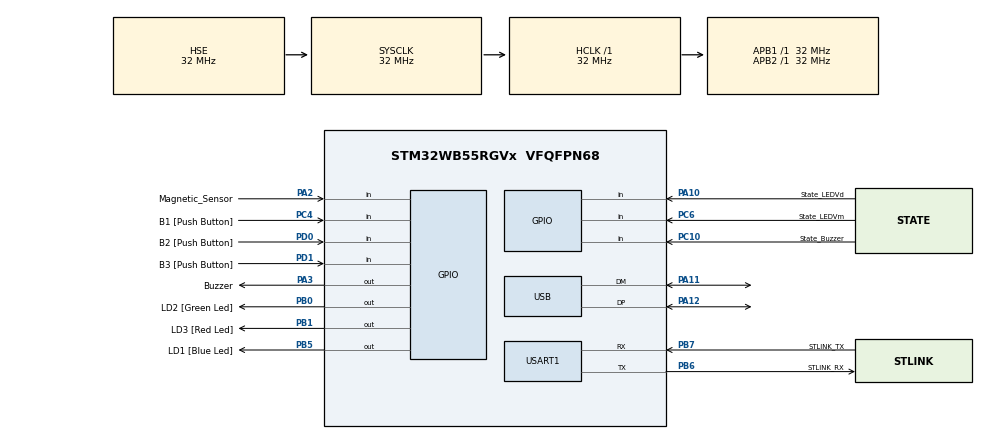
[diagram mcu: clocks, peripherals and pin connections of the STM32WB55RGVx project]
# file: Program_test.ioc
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Mcu.Family=STM32WB
Mcu.Name=STM32WB55RGVx
Mcu.Package=VFQFPN68
NVIC.PriorityGroup=NVIC_PRIORITYGROUP_4
OSC_IN.Mode=HSE-External-Oscillator
OSC_IN.Signal=RCC_OSC_IN
OSC_OUT.Mode=HSE-External-Oscillator
OSC_OUT.Signal=RCC_OSC_OUT
PA10.GPIO_Label=State_LEDVd
PA10.GPIO_PuPd=GPIO_PULLDOWN
PA10.Signal=GPIO_Input
PA11.Mode=Device
PA11.Signal=USB_DM
PA12.Mode=Device
PA12.Signal=USB_DP
PA13.GPIO_Label=JTMS
PA13.Mode=Trace_Asynchronous_SW
PA13.Signal=SYS_JTMS-SWDIO
PA14.GPIO_Label=JTCK
PA14.Mode=Trace_Asynchronous_SW
PA14.Signal=SYS_JTCK-SWCLK
PA2.GPIO_Label=Magnetic_Sensor
PA2.GPIO_PuPd=GPIO_PULLDOWN
PA2.Signal=GPIO_Input
PA3.GPIO_Label=Buzzer
PA3.GPIO_PuPd=GPIO_PULLDOWN
PA3.PinState=GPIO_PIN_SET
PA3.Signal=GPIO_Output
PB0.GPIO_Label=LD2 [Green Led]
PB0.Signal=GPIO_Output
PB1.GPIO_Label=LD3 [Red Led]
PB1.Signal=GPIO_Output
PB3.GPIO_Label=JTDO
PB3.Mode=Trace_Asynchronous_SW
PB3.Signal=SYS_JTDO-SWO
PB5.GPIO_Label=LD1 [Blue Led]
PB5.Signal=GPIO_Output
PB6.GPIO_Label=STLINK_RX
PB6.GPIO_PuPd=GPIO_PULLUP
PB6.Mode=Asynchronous
PB6.Signal=USART1_TX
PB7.GPIO_Label=STLINK_TX
PB7.GPIO_PuPd=GPIO_PULLUP
PB7.Mode=Asynchronous
PB7.Signal=USART1_RX
PC10.GPIO_Label=State_Buzzer
PC10.GPIO_PuPd=GPIO_PULLDOWN
PC10.Signal=GPIO_Input
PC13.Mode=SYS_WakeUp1
PC13.Signal=SYS_WKUP2
PC14-OSC32_IN.Mode=LSE-External-Oscillator
PC14-OSC32_IN.Signal=RCC_OSC32_IN
PC15-OSC32_OUT.Mode=LSE-External-Oscillator
PC15-OSC32_OUT.Signal=RCC_OSC32_OUT
PC4.GPIO_Label=B1 [Push Button]
PC4.Signal=GPIO_Input
PC6.GPIO_Label=State_LEDVm
PC6.GPIO_PuPd=GPIO_PULLDOWN
PC6.Signal=GPIO_Input
PD0.GPIO_Label=B2 [Push Button]
PD0.Signal=GPIO_Input
PD1.GPIO_Label=B3 [Push Button]
PD1.Signal=GPIO_Input
ProjectManager.HeapSize=0x200
ProjectManager.StackSize=0x400
ProjectManager.TargetToolchain=STM32CubeIDE
RCC.ADCFreq_Value=48000000
RCC.AHBFreq_Value=32000000
RCC.APB1Freq_Value=32000000
RCC.APB1TimFreq_Value=32000000
RCC.APB2Freq_Value=32000000
RCC.APB2TimFreq_Value=32000000
RCC.APB3Freq_Value=16000000
RCC.CortexFreq_Value=32000000
RCC.HCLKFreq_Value=32000000
RCC.HSE_VALUE=32000000
RCC.HSI48_VALUE=48000000
RCC.HSI_VALUE=16000000
RCC.PLLN=32
RCC.PLLSAI1N=24
RCC.SMPSCLockSelectionVirtual=RCC_SMPSCLKSOURCE_HSI
RCC.SMPSCLockSelectionVirtualVirtual=RCC_SMPSCLKSOURCE_HSI
RCC.SMPSDivider=1
RCC.SYSCLKFreq_VALUE=32000000
RCC.SYSCLKSource=RCC_SYSCLKSOURCE_HSE
RCC.USBFreq_Value=48000000
RCC.VCOOutputFreq_Value=128000000
USART1.DMADisableonRxErrorParam=ADVFEATURE_DMA_DISABLEONRXERROR
USART1.OverrunDisableParam=ADVFEATURE_OVERRUN_DISABLE
USART1.VirtualMode-Asynchronous=VM_ASYNC
USART1.WordLength=WORDLENGTH_7B
board=P-NUCLEO-WB55-Nucleo

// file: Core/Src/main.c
/* USER CODE BEGIN Header */
/**
  ******************************************************************************
  * @file           : main.c
  * @brief          : Main program body
  ******************************************************************************
  * @attention
  *
  * <h2><center>&copy; Copyright (c) 2020 STMicroelectronics.
  * All rights reserved.</center></h2>
  *
  * This software component is licensed by ST under BSD 3-Clause license,
  * the "License"; You may not use this file except in compliance with the
  * License. You may obtain a copy of the License at:
  *                        opensource.org/licenses/BSD-3-Clause
  *
  ******************************************************************************
  */
/* USER CODE END Header */
#include "main.h"

/* USER CODE BEGIN Includes */
#include "string.h"
/* USER CODE END Includes */

UART_HandleTypeDef huart1;

PCD_HandleTypeDef hpcd_USB_FS;

/* USER CODE BEGIN PV */
uint8_t aux = 0;
uint32_t timer_1;
uint32_t timer_2;
char in[1];
/* USER CODE END PV */

void SystemClock_Config(void);
static void MX_GPIO_Init(void);
static void MX_USART1_UART_Init(void);
static void MX_USB_PCD_Init(void);
/* USER CODE BEGIN PFP */
void debugPrintln(UART_HandleTypeDef *huart, char _out[]);
/* USER CODE END PFP */

int main(void)
{

  /* MCU Configuration--------------------------------------------------------*/

  /* Reset of all peripherals, Initializes the Flash interface and the Systick. */
HAL_Init();

  /* Configure the system clock */
  SystemClock_Config();

  /* Initialize all configured peripherals */
  MX_GPIO_Init();
  MX_USART1_UART_Init();
  MX_USB_PCD_Init();

  /* Infinite loop */
  /* USER CODE BEGIN WHILE */
  debugPrintln(&huart1, "-------------------Funcionamento----------------------");
  debugPrintln(&huart1, "");
  debugPrintln(&huart1, "Durante o funcionamento, para saber o valor o estado atual das saidas, aperte 0");
  while (1)
  {
	  /* Condição que ativa o alarme */
	  if(HAL_GPIO_ReadPin(GPIOA, Magnetic_Sensor_Pin))
	  {   aux = 2;
		  HAL_GPIO_WritePin(GPIOB, LD3_Pin, GPIO_PIN_SET);
		  HAL_GPIO_WritePin(GPIOB, LD1_Pin, GPIO_PIN_SET);
		  timer_1 = HAL_GetTick();
	  }
	  /* Verifica se a porta foi fechada */
	  else if(!HAL_GPIO_ReadPin(GPIOA, Magnetic_Sensor_Pin) && (aux == 2))
	  {
		  aux = 1;
		  HAL_GPIO_WritePin(GPIOB, LD3_Pin, GPIO_PIN_RESET);
		  HAL_GPIO_WritePin(GPIOB, LD2_Pin, GPIO_PIN_SET);
		  HAL_GPIO_WritePin(GPIOB, LD1_Pin, GPIO_PIN_RESET);
		  debugPrintln(&huart1, "Porta fechada");
		  timer_2 = HAL_GetTick();
	   }
	  else if ((HAL_GetTick() - timer_2) >= 5000){
		  aux = 0;
	  }
	  HAL_UART_Receive(&huart1, (uint8_t *)in, 1, 1000);
	  if (!strcmp(&in[0],"0")){
		  debugPrintln(&huart1,"------------------------------------");
		  /* Verifica se sensor magnético está ativado */
		  if(HAL_GPIO_ReadPin(GPIOA, Magnetic_Sensor_Pin))
			  debugPrintln(&huart1,"Porta aberta");
		  else
			  debugPrintln(&huart1,"Porta Fechada");
		  /* Verifica se o LED vermelho está ligado */
		  if(HAL_GPIO_ReadPin(GPIOC,State_LEDVm_Pin))
			  debugPrintln(&huart1,"Led vermelho ligado");
		  else
			  debugPrintln(&huart1,"Led vermelho Desligado");
		  /* Verifica se o LED verde está ligado */
		  if(HAL_GPIO_ReadPin(GPIOA,State_LEDVd_Pin))
			  debugPrintln(&huart1,"Led verde ligado");
		  else
			  debugPrintln(&huart1,"Led verde desligado");
		  /* Verifica se o Buzzer está ativado */
		  if(HAL_GPIO_ReadPin(GPIOC,State_Buzzer_Pin))
			  debugPrintln(&huart1,"Buzzer ligado");
		  else
			  debugPrintln(&huart1,"Buzzer Desligado");
		  debugPrintln(&huart1,"------------------------------------");
		  in[0] = 1;

	  if(((HAL_GetTick() - timer_1) >= 1000) && (HAL_GPIO_ReadPin(GPIOA, Magnetic_Sensor_Pin))){
		  debugPrintln(&huart1, "Ocorreu uma violacao, porta aberta");
	  }
	  if((HAL_GetTick() - timer_2) >= 5000){
		  HAL_GPIO_WritePin(GPIOB, LD2_Pin, GPIO_PIN_RESET);
	  }

    /* USER CODE END WHILE */

  }
}

void SystemClock_Config(void)
{
  RCC_OscInitTypeDef RCC_OscInitStruct = {0};
  RCC_ClkInitTypeDef RCC_ClkInitStruct = {0};
  RCC_PeriphCLKInitTypeDef PeriphClkInitStruct = {0};

  /** Macro to configure the PLL multiplication factor
  */
  __HAL_RCC_PLL_PLLM_CONFIG(RCC_PLLM_DIV1);
  /** Macro to configure the PLL clock source
  */
  __HAL_RCC_PLL_PLLSOURCE_CONFIG(RCC_PLLSOURCE_MSI);
  /** Configure LSE Drive Capability
  */
  HAL_PWR_EnableBkUpAccess();
  __HAL_RCC_LSEDRIVE_CONFIG(RCC_LSEDRIVE_LOW);
  /** Configure the main internal regulator output voltage
  */
  __HAL_PWR_VOLTAGESCALING_CONFIG(PWR_REGULATOR_VOLTAGE_SCALE1);
  /** Initializes the RCC Oscillators according to the specified parameters
  * in the RCC_OscInitTypeDef structure.
  */
  RCC_OscInitStruct.OscillatorType = RCC_OSCILLATORTYPE_HSI|RCC_OSCILLATORTYPE_HSE
                              |RCC_OSCILLATORTYPE_LSE|RCC_OSCILLATORTYPE_MSI;
  RCC_OscInitStruct.HSEState = RCC_HSE_ON;
  RCC_OscInitStruct.LSEState = RCC_LSE_ON;
  RCC_OscInitStruct.HSIState = RCC_HSI_ON;
  RCC_OscInitStruct.MSIState = RCC_MSI_ON;
  RCC_OscInitStruct.HSICalibrationValue = RCC_HSICALIBRATION_DEFAULT;
  RCC_OscInitStruct.MSICalibrationValue = RCC_MSICALIBRATION_DEFAULT;
  RCC_OscInitStruct.MSIClockRange = RCC_MSIRANGE_6;
  RCC_OscInitStruct.PLL.PLLState = RCC_PLL_NONE;
  if (HAL_RCC_OscConfig(&RCC_OscInitStruct) != HAL_OK)
  {
    Error_Handler();
  }
  /** Configure the SYSCLKSource, HCLK, PCLK1 and PCLK2 clocks dividers
  */
  RCC_ClkInitStruct.ClockType = RCC_CLOCKTYPE_HCLK4|RCC_CLOCKTYPE_HCLK2
                              |RCC_CLOCKTYPE_HCLK|RCC_CLOCKTYPE_SYSCLK
                              |RCC_CLOCKTYPE_PCLK1|RCC_CLOCKTYPE_PCLK2;
  RCC_ClkInitStruct.SYSCLKSource = RCC_SYSCLKSOURCE_HSE;
  RCC_ClkInitStruct.AHBCLKDivider = RCC_SYSCLK_DIV1;
  RCC_ClkInitStruct.APB1CLKDivider = RCC_HCLK_DIV1;
  RCC_ClkInitStruct.APB2CLKDivider = RCC_HCLK_DIV1;
  RCC_ClkInitStruct.AHBCLK2Divider = RCC_SYSCLK_DIV1;
  RCC_ClkInitStruct.AHBCLK4Divider = RCC_SYSCLK_DIV1;

  if (HAL_RCC_ClockConfig(&RCC_ClkInitStruct, FLASH_LATENCY_1) != HAL_OK)
  {
    Error_Handler();
  }
  /** Initializes the peripherals clocks
  */
  PeriphClkInitStruct.PeriphClockSelection = RCC_PERIPHCLK_SMPS|RCC_PERIPHCLK_USART1
                              |RCC_PERIPHCLK_LPUART1|RCC_PERIPHCLK_I2C1
                              |RCC_PERIPHCLK_USB;
  PeriphClkInitStruct.PLLSAI1.PLLN = 24;
  PeriphClkInitStruct.PLLSAI1.PLLP = RCC_PLLP_DIV2;
  PeriphClkInitStruct.PLLSAI1.PLLQ = RCC_PLLQ_DIV2;
  PeriphClkInitStruct.PLLSAI1.PLLR = RCC_PLLR_DIV2;
  PeriphClkInitStruct.PLLSAI1.PLLSAI1ClockOut = RCC_PLLSAI1_USBCLK;
  PeriphClkInitStruct.Usart1ClockSelection = RCC_USART1CLKSOURCE_PCLK2;
  PeriphClkInitStruct.Lpuart1ClockSelection = RCC_LPUART1CLKSOURCE_PCLK1;
  PeriphClkInitStruct.I2c1ClockSelection = RCC_I2C1CLKSOURCE_PCLK1;
  PeriphClkInitStruct.UsbClockSelection = RCC_USBCLKSOURCE_PLLSAI1;
  PeriphClkInitStruct.SmpsClockSelection = RCC_SMPSCLKSOURCE_HSI;
  PeriphClkInitStruct.SmpsDivSelection = RCC_SMPSCLKDIV_RANGE0;
  if (HAL_RCCEx_PeriphCLKConfig(&PeriphClkInitStruct) != HAL_OK)
  {
    Error_Handler();
  }
  /** Enable MSI Auto calibration
  */
  HAL_RCCEx_EnableMSIPLLMode();
}
static void MX_USART1_UART_Init(void)
{

  huart1.Instance = USART1;
  huart1.Init.BaudRate = 115200;
  huart1.Init.WordLength = UART_WORDLENGTH_8B;
  huart1.Init.StopBits = UART_STOPBITS_1;
  huart1.Init.Parity = UART_PARITY_NONE;
  huart1.Init.Mode = UART_MODE_TX_RX;
  huart1.Init.HwFlowCtl = UART_HWCONTROL_NONE;
  huart1.Init.OverSampling = UART_OVERSAMPLING_16;
  huart1.Init.OneBitSampling = UART_ONE_BIT_SAMPLE_DISABLE;
  huart1.Init.ClockPrescaler = UART_PRESCALER_DIV1;
  huart1.AdvancedInit.AdvFeatureInit = UART_ADVFEATURE_RXOVERRUNDISABLE_INIT|UART_ADVFEATURE_DMADISABLEONERROR_INIT;
  huart1.AdvancedInit.OverrunDisable = UART_ADVFEATURE_OVERRUN_DISABLE;
  huart1.AdvancedInit.DMADisableonRxError = UART_ADVFEATURE_DMA_DISABLEONRXERROR;
  if (HAL_UART_Init(&huart1) != HAL_OK)
  {
    Error_Handler();
  }
  if (HAL_UARTEx_SetTxFifoThreshold(&huart1, UART_TXFIFO_THRESHOLD_1_8) != HAL_OK)
  {
    Error_Handler();
  }
  if (HAL_UARTEx_SetRxFifoThreshold(&huart1, UART_RXFIFO_THRESHOLD_1_8) != HAL_OK)
  {
    Error_Handler();
  }
  if (HAL_UARTEx_DisableFifoMode(&huart1) != HAL_OK)
  {
    Error_Handler();
  }

}

static void MX_USB_PCD_Init(void)
{

  hpcd_USB_FS.Instance = USB;
  hpcd_USB_FS.Init.dev_endpoints = 8;
  hpcd_USB_FS.Init.speed = PCD_SPEED_FULL;
  hpcd_USB_FS.Init.phy_itface = PCD_PHY_EMBEDDED;
  hpcd_USB_FS.Init.Sof_enable = DISABLE;
  hpcd_USB_FS.Init.low_power_enable = DISABLE;
  hpcd_USB_FS.Init.lpm_enable = DISABLE;
  hpcd_USB_FS.Init.battery_charging_enable = DISABLE;
  if (HAL_PCD_Init(&hpcd_USB_FS) != HAL_OK)
  {
    Error_Handler();
  }

}

static void MX_GPIO_Init(void)
{
  GPIO_InitTypeDef GPIO_InitStruct = {0};

  /* GPIO Ports Clock Enable */
  __HAL_RCC_GPIOC_CLK_ENABLE();
  __HAL_RCC_GPIOA_CLK_ENABLE();
  __HAL_RCC_GPIOB_CLK_ENABLE();
  __HAL_RCC_GPIOD_CLK_ENABLE();

  /*Configure GPIO pin Output Level */
  HAL_GPIO_WritePin(Buzzer_GPIO_Port, Buzzer_Pin, GPIO_PIN_SET);

  /*Configure GPIO pin Output Level */
  HAL_GPIO_WritePin(GPIOB, LD2_Pin|LD3_Pin|LD1_Pin, GPIO_PIN_RESET);

  /*Configure GPIO pin : Magnetic_Sensor_Pin */
  GPIO_InitStruct.Pin = Magnetic_Sensor_Pin;
  GPIO_InitStruct.Mode = GPIO_MODE_INPUT;
  GPIO_InitStruct.Pull = GPIO_PULLDOWN;
  HAL_GPIO_Init(Magnetic_Sensor_GPIO_Port, &GPIO_InitStruct);

  /*Configure GPIO pin : Buzzer_Pin */
  GPIO_InitStruct.Pin = Buzzer_Pin;
  GPIO_InitStruct.Mode = GPIO_MODE_OUTPUT_PP;
  GPIO_InitStruct.Pull = GPIO_PULLDOWN;
  GPIO_InitStruct.Speed = GPIO_SPEED_FREQ_LOW;
  HAL_GPIO_Init(Buzzer_GPIO_Port, &GPIO_InitStruct);

  /*Configure GPIO pin : B1_Pin */
  GPIO_InitStruct.Pin = B1_Pin;
  GPIO_InitStruct.Mode = GPIO_MODE_INPUT;
  GPIO_InitStruct.Pull = GPIO_NOPULL;
  HAL_GPIO_Init(B1_GPIO_Port, &GPIO_InitStruct);

  /*Configure GPIO pins : LD2_Pin LD3_Pin LD1_Pin */
  GPIO_InitStruct.Pin = LD2_Pin|LD3_Pin|LD1_Pin;
  GPIO_InitStruct.Mode = GPIO_MODE_OUTPUT_PP;
  GPIO_InitStruct.Pull = GPIO_NOPULL;
  GPIO_InitStruct.Speed = GPIO_SPEED_FREQ_LOW;
  HAL_GPIO_Init(GPIOB, &GPIO_InitStruct);

  /*Configure GPIO pin : State_LEDVm_Pin */
  GPIO_InitStruct.Pin = State_LEDVm_Pin;
  GPIO_InitStruct.Mode = GPIO_MODE_INPUT;
  GPIO_InitStruct.Pull = GPIO_PULLDOWN;
  HAL_GPIO_Init(State_LEDVm_GPIO_Port, &GPIO_InitStruct);

  /*Configure GPIO pin : State_LEDVd_Pin */
  GPIO_InitStruct.Pin = State_LEDVd_Pin;
  GPIO_InitStruct.Mode = GPIO_MODE_INPUT;
  GPIO_InitStruct.Pull = GPIO_NOPULL;
  HAL_GPIO_Init(State_LEDVd_GPIO_Port, &GPIO_InitStruct);

  /*Configure GPIO pin : State_Buzzer_Pin */
  GPIO_InitStruct.Pin = State_Buzzer_Pin;
  GPIO_InitStruct.Mode = GPIO_MODE_INPUT;
  GPIO_InitStruct.Pull = GPIO_PULLDOWN;
  HAL_GPIO_Init(State_Buzzer_GPIO_Port, &GPIO_InitStruct);

  /*Configure GPIO pins : B2_Pin B3_Pin */
  GPIO_InitStruct.Pin = B2_Pin|B3_Pin;
  GPIO_InitStruct.Mode = GPIO_MODE_INPUT;
  GPIO_InitStruct.Pull = GPIO_NOPULL;
  HAL_GPIO_Init(GPIOD, &GPIO_InitStruct);

}

/* USER CODE BEGIN 4 */
/**
  * @brief  Configures EXTI line 4 (connected to PC.04 pin) in interrupt mode
  * @param  None
  * @retval None
  */

void debugPrintln(UART_HandleTypeDef *huart, char _out[])
{
 HAL_UART_Transmit(huart, (uint8_t *) _out, strlen(_out), 10);
 char newline[2] = "\r\n";
 HAL_UART_Transmit(huart, (uint8_t *) newline, 2, 10);
}
/* USER CODE END 4 */

void Error_Handler(void)
{
}

/************************ (C) COPYRIGHT STMicroelectronics *****END OF FILE****/
